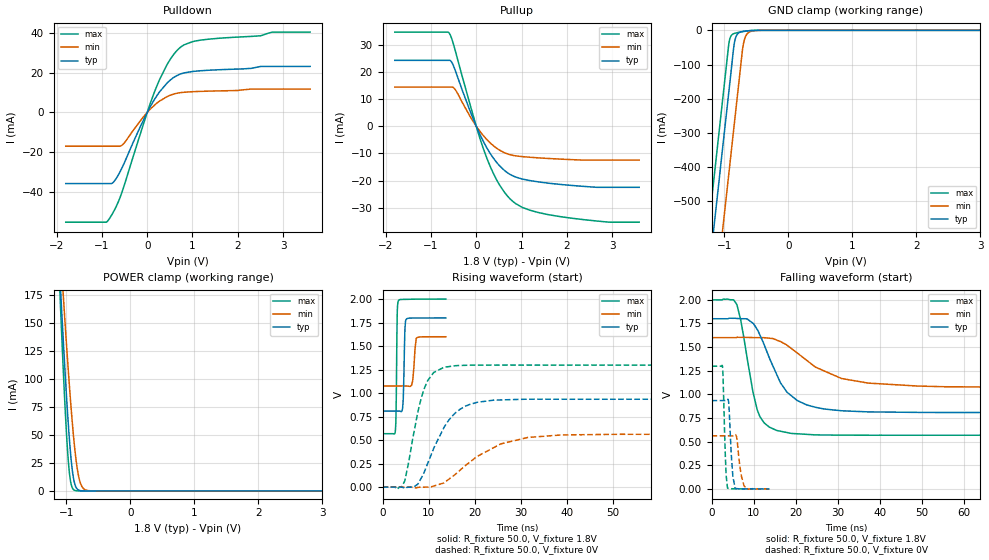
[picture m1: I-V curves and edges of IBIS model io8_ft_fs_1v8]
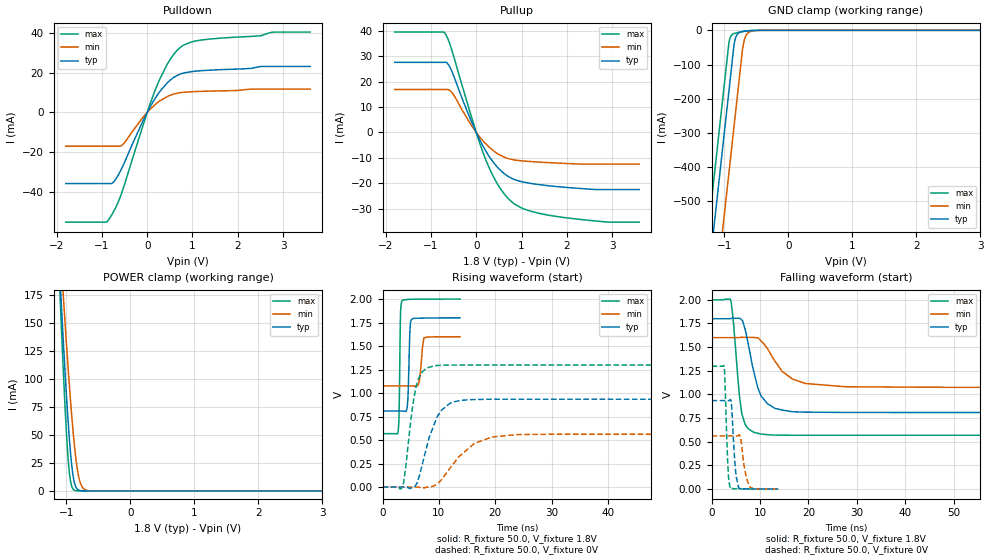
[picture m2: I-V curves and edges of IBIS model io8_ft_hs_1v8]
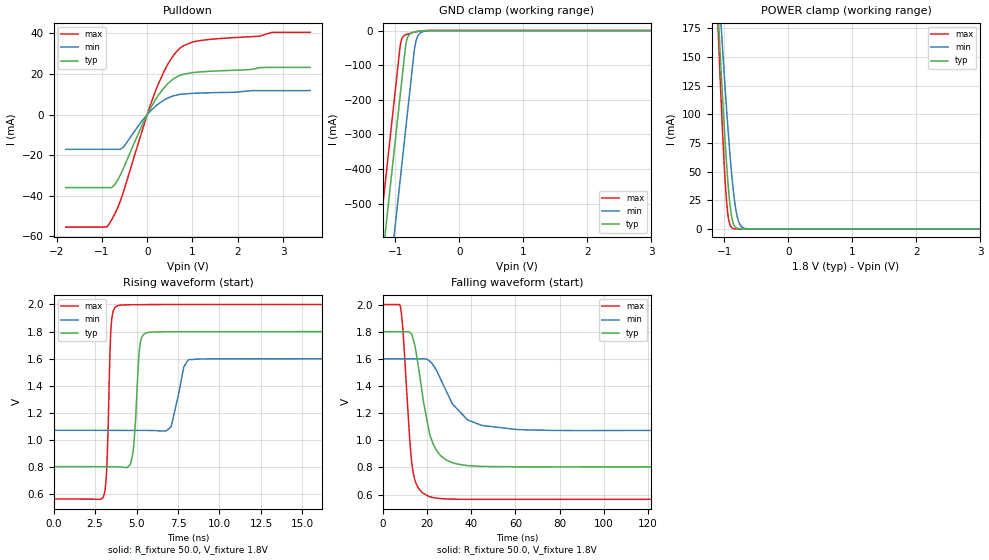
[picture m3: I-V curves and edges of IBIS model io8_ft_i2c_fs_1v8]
| IBIS file stm32c051_tssop20.ibs
[IBIS ver] 4.2
[File name] stm32c051_tssop20.ibs
[File Rev] 0.1
[Date] 13-01-2025
[Source] Data Created at STMicroelectronics
[Notes]  File originated from ELDO simulations.
[Disclaimer]  This information is for modeling purpose only and is
   not guaranted. The information is subject to change without
   notice.
[Copyright] Copyright 2025 STMicroelectronics Inc.
|   Component stm32c051_tssop20
[Component] stm32c051_tssop20
[Manufacturer] STMicroelectronics
[Package]
| variable   typ   min   max
R_pkg  0  NA  NA
L_pkg  0  NA  NA
C_pkg  0  NA  NA
[Pin]   signal_name   model_name
| choose one IO only for pin 1
1  PB7  io8_ft_i2c
| 1  PB8  io8_ft_i2c
2  PC14-OSCX_IN  io8_ft_i2c
3  PC15-OSCX_OUT  io8_ft
4  VDD  power
5  VSS  gnd
6  PF2-NRST  ioreset_ft_v33
7  PA0  io8_ft_v33
8  PA1  io8_ft
9  PA2  io8_ft_v33
10  PA3  io8_ft
11  PA4  io8_ft_v33
12  PA5  io8_ft
13  PA6  io8_ft_i2c
14  PA7  io8_ft_i2c
15  PA8  io8_ft
16  PA11  io8_ft_i2c
17  PA12  io8_ft_i2c
18  PA13  io8_ft
| choose one IO only for pin 19
19  PA14-BOOT0  io8_ft_v33
| 19  PA15  io8_ft
| choose one IO only for pin 20
20  PB3  io8_ft_i2c
|20  PB4  io8_ft_i2c
|20  PB5  io8_ft_i2c_v33
|20  PB6  io8_ft_i2c_v33
[Package Model]   44c-tssop-4.4-20-241204
[Pin Mapping]   pulldown_ref   pullup_ref   | Comment
1  gndio  vddio
2  gndio  vddio
3  gndio  vddio
4  nc  vddio
5  gndio  nc
6  gndio  vddio
7  gndio  vddio
8  gndio  vddio
9  gndio  vddio
10  gndio  vddio
11  gndio  vddio
12  gndio  vddio
13  gndio  vddio
14  gndio  vddio
15  gndio  vddio
16  gndio  vddio
17  gndio  vddio
18  gndio  vddio
19  gndio  vddio
20  gndio  vddio
|[Diff Pin]  inv_pin  vdiff  tdelay_typ  tdelay_min  tdelay_max
|17  16  NA  NA  NA  NA
[Model Selector] io8_ft
io8_ft_ls_3v3 "GPIO - 5V tolerant - low speed - 3.3V range"
io8_ft_ms_3v3 "GPIO - 5V tolerant - med speed - 3.3V range"
io8_ft_fs_3v3 "GPIO - 5V tolerant - fast speed - 3.3V range"
io8_ft_hs_3v3 "GPIO - 5V tolerant - high speed - 3.3V range"
io8_ft_ls_1v8 "GPIO - 5V tolerant - low speed - 1.8V range"
io8_ft_ms_1v8 "GPIO - 5V tolerant - med speed - 1.8V range"
io8_ft_fs_1v8 "GPIO - 5V tolerant - fast speed - 1.8V range"
io8_ft_hs_1v8 "GPIO - 5V tolerant - high speed - 1.8V range"
io8_ft_ls_1v2 "GPIO - 5V tolerant - low speed - 1.2V range"
io8_ft_ms_1v2 "GPIO - 5V tolerant - med speed - 1.2V range"
io8_ft_fs_1v2 "GPIO - 5V tolerant - fast speed - 1.2V range"
io8_ft_hs_1v2 "GPIO - 5V tolerant - high speed - 1.2V range"
[Model Selector] io8_ft_i2c
io8_ft_ls_3v3 "GPIO - 5V tolerant - low speed - 3.3V range"
io8_ft_ms_3v3 "GPIO - 5V tolerant - med speed - 3.3V range"
io8_ft_fs_3v3 "GPIO - 5V tolerant - fast speed - 3.3V range"
io8_ft_hs_3v3 "GPIO - 5V tolerant - high speed - 3.3V range"
io8_ft_ls_1v8 "GPIO - 5V tolerant - low speed - 1.8V range"
io8_ft_ms_1v8 "GPIO - 5V tolerant - med speed - 1.8V range"
io8_ft_fs_1v8 "GPIO - 5V tolerant - fast speed - 1.8V range"
io8_ft_hs_1v8 "GPIO - 5V tolerant - high speed - 1.8V range"
io8_ft_ls_1v2 "GPIO - 5V tolerant - low speed - 1.2V range"
io8_ft_ms_1v2 "GPIO - 5V tolerant - med speed - 1.2V range"
io8_ft_fs_1v2 "GPIO - 5V tolerant - fast speed - 1.2V range"
io8_ft_hs_1v2 "GPIO - 5V tolerant - high speed - 1.2V range"
io8_ft_i2c_ls_3v3 "GPIO with I2C open-drain - 5V tolerant - low speed - 3.3V range"
io8_ft_i2c_ms_3v3 "GPIO with I2C open-drain - 5V tolerant - med speed - 3.3V range"
io8_ft_i2c_fs_3v3 "GPIO with I2C open-drain - 5V tolerant - fast speed - 3.3V range"
io8_ft_i2c_hs_3v3 "GPIO with I2C open-drain - 5V tolerant - high speed - 3.3V range"
io8_ft_i2c_ls_1v8 "GPIO with I2C open-drain - 5V tolerant - low speed - 1.8V range"
io8_ft_i2c_ms_1v8 "GPIO with I2C open-drain - 5V tolerant - med speed - 1.8V range"
io8_ft_i2c_fs_1v8 "GPIO with I2C open-drain - 5V tolerant - fast speed - 1.8V range"
io8_ft_i2c_hs_1v8 "GPIO with I2C open-drain - 5V tolerant - high speed - 1.8V range"
io8_ft_i2c_ls_1v2 "GPIO with I2C open-drain - 5V tolerant - low speed - 1.2V range"
io8_ft_i2c_ms_1v2 "GPIO with I2C open-drain - 5V tolerant - med speed - 1.2V range"
io8_ft_i2c_fs_1v2 "GPIO with I2C open-drain - 5V tolerant - fast speed - 1.2V range"
io8_ft_i2c_hs_1v2 "GPIO with I2C open-drain - 5V tolerant - high speed - 1.2V range"
[Model Selector] io8_ft_v33
io8_ft_v33_ls_3v3 "GPIO - 5V tolerant - low speed - 3.3V range"
io8_ft_v33_ms_3v3 "GPIO - 5V tolerant - med speed - 3.3V range"
io8_ft_v33_fs_3v3 "GPIO - 5V tolerant - fast speed - 3.3V range"
io8_ft_v33_hs_3v3 "GPIO - 5V tolerant - high speed - 3.3V range"
io8_ft_v33_ls_1v8 "GPIO - 5V tolerant - low speed - 1.8V range"
io8_ft_v33_ms_1v8 "GPIO - 5V tolerant - med speed - 1.8V range"
io8_ft_v33_fs_1v8 "GPIO - 5V tolerant - fast speed - 1.8V range"
io8_ft_v33_hs_1v8 "GPIO - 5V tolerant - high speed - 1.8V range"
io8_ft_v33_ls_1v2 "GPIO - 5V tolerant - low speed - 1.2V range"
io8_ft_v33_ms_1v2 "GPIO - 5V tolerant - med speed - 1.2V range"
io8_ft_v33_fs_1v2 "GPIO - 5V tolerant - fast speed - 1.2V range"
io8_ft_v33_hs_1v2 "GPIO - 5V tolerant - high speed - 1.2V range"
[Model Selector] ioreset_ft_v33
io8_ft_v33_ls_3v3 "GPIO - 5V tolerant - low speed - 3.3V range"
io8_ft_v33_ms_3v3 "GPIO - 5V tolerant - med speed - 3.3V range"
io8_ft_v33_fs_3v3 "GPIO - 5V tolerant - fast speed - 3.3V range"
io8_ft_v33_hs_3v3 "GPIO - 5V tolerant - high speed - 3.3V range"
io8_ft_v33_ls_1v8 "GPIO - 5V tolerant - low speed - 1.8V range"
io8_ft_v33_ms_1v8 "GPIO - 5V tolerant - med speed - 1.8V range"
io8_ft_v33_fs_1v8 "GPIO - 5V tolerant - fast speed - 1.8V range"
io8_ft_v33_hs_1v8 "GPIO - 5V tolerant - high speed - 1.8V range"
io8_ft_v33_ls_1v2 "GPIO - 5V tolerant - low speed - 1.2V range"
io8_ft_v33_ms_1v2 "GPIO - 5V tolerant - med speed - 1.2V range"
io8_ft_v33_fs_1v2 "GPIO - 5V tolerant - fast speed - 1.2V range"
io8_ft_v33_hs_1v2 "GPIO - 5V tolerant - high speed - 1.2V range"
ioreset_ft_v33_1v2   "Reset PAD. 5V tolerant. 1.2V range"
ioreset_ft_v33_1v8   "Reset PAD. 5V tolerant. 1.8V range"
ioreset_ft_v33_3v3   "Reset PAD. 5V tolerant. 3.3V range"
[Define Package Model]  44c-tssop-4.4-20-241204
[Manufacturer]  Unknown
[OEM]  Unknown
[Description]  None
[Number Of Pins]  20
[Pin Numbers]
| Pin Num   Terminal Name
7 | PA0
8 | PA1
9 | PA2
10 | PA3
11 | PA4
12 | PA5
13 | PA6
14 | PA7
15 | PA8
16 | PA11
17 | PA12
18 | PA13
19 | PA14-BOOT0-PA15
20 | PB3-PB4-PB5-PB6
1 | PB7-PB8
2 | PC14-OSCX_IN
3 | PC15-OSCX_OUT
6 | PF2-NRST
4 | VDD
5 | VSS
[Model Data]
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[End Model Data]
[End Package Model]
|End [Component]
| Models and submodels in the file (39): io8_ft_fs_1v2 (I/O), io8_ft_fs_1v8 (I/O), io8_ft_fs_3v3 (I/O), io8_ft_hs_1v2 (I/O), io8_ft_hs_1v8 (I/O), io8_ft_hs_3v3 (I/O), io8_ft_i2c_fs_1v2 (I/O_open_drain), io8_ft_i2c_fs_1v8 (I/O_open_drain), io8_ft_i2c_fs_3v3 (I/O_open_drain), io8_ft_i2c_hs_1v2 (I/O_open_drain), io8_ft_i2c_hs_1v8 (I/O_open_drain), io8_ft_i2c_hs_3v3 (I/O_open_drain), io8_ft_i2c_ls_1v2 (I/O_open_drain), io8_ft_i2c_ls_1v8 (I/O_open_drain), io8_ft_i2c_ls_3v3 (I/O_open_drain), io8_ft_i2c_ms_1v2 (I/O_open_drain), io8_ft_i2c_ms_1v8 (I/O_open_drain), io8_ft_i2c_ms_3v3 (I/O_open_drain), io8_ft_ls_1v2 (I/O), io8_ft_ls_1v8 (I/O), io8_ft_ls_3v3 (I/O), io8_ft_ms_1v2 (I/O), io8_ft_ms_1v8 (I/O), io8_ft_ms_3v3 (I/O), io8_ft_v33_fs_1v2 (I/O), io8_ft_v33_fs_1v8 (I/O), io8_ft_v33_fs_3v3 (I/O), io8_ft_v33_hs_1v2 (I/O), io8_ft_v33_hs_1v8 (I/O), io8_ft_v33_hs_3v3 (I/O), io8_ft_v33_ls_1v2 (I/O), io8_ft_v33_ls_1v8 (I/O), io8_ft_v33_ls_3v3 (I/O), io8_ft_v33_ms_1v2 (I/O), io8_ft_v33_ms_1v8 (I/O), io8_ft_v33_ms_3v3 (I/O), ioreset_ft_v33_1v2 (Input), ioreset_ft_v33_1v8 (Input), ioreset_ft_v33_3v3 (Input)
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[Model]   io8_ft_fs_1v8
Model_type I/O
Polarity   Non-Inverting
Enable   Active-Low
| CAP_THRESHOLD on pad IOFT is "UDTCAPC" :
| Rising=30.0% of vddiom   Falling=70.0% of vddiom
| C_comp min and max val. don't necessarily correlate with the min and max pvt
| but are the smallest and greatest pad capacitance found.
| var   typ   min   max
C_comp   1.88000pF  1.84955pF  1.93330pF
|C_comp_pullup   1.00265pF  1.07915pF  1.05575pF
|C_comp_pulldown   877.35415fF  770.40365fF  877.54544fF
Vinl = 800.0mV
Vinh = 1.0V
Vmeas = 900.0mV   | Reference voltage for timing measurements
Cref  = 50.0pF   | Timing specification test load capacitance value
Rref  = 1.0MOhm   | Timing specification test load resistance value
Vref  = 990.0mV   | Timing specification test load voltage
[Model Spec]
| TIME_THRESHOLD on pin ZIV12 is "CMOS" :
| Rising=50.0% of vdd   Falling=50.0% of vdd
Vinl 728.70000mV 652.70000mV 817.70000mV
Vinh 1.06430V 953.30000mV 1.16330V
| variable   typ   min   max
[Temperature Range] 25.0 125.0 -40.0
| variable   typ   min   max
[Voltage Range] 1.8V 1.6V 2.0V
| variable   typ   min   max
[POWER Clamp Reference] 1.8V 1.6V 2.0V
| variable   typ   min   max
[GND Clamp Reference] 0V 0V 0V
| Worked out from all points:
|   slope of the pulldown table from 0 to 0.27 V, typ, clamps not added: 26.3 ohm
|   slope of the pullup table from 0 to 0.27 V, typ, clamps not added: 30 ohm
|   GND clamp passes 1 mA (typ) near -0.61 V on its own axis
|   POWER clamp passes 1 mA (typ) near -0.81 V on its own axis
|   rising waveform, R_fixture 50.0, V_fixture 1.8V: 20-80 % time 280ps typ, 470ps min, 195ps max; typ from 0.809 V to 1.8 V
|   falling waveform, R_fixture 50.0, V_fixture 1.8V: 20-80 % time 6.63ns typ, 11.6ns min, 3.54ns max; typ from 1.8 V to 0.809 V
|   rising waveform, R_fixture 50.0, V_fixture 0V: 20-80 % time 5.72ns typ, 10.1ns min, 3.34ns max; typ from 0 V to 0.934 V
|   falling waveform, R_fixture 50.0, V_fixture 0V: 20-80 % time 694ps typ, 1.01ns min, 534ps max; typ from 0.935 V to 0 V
[POWER Clamp]
-1.8V     1.053A     933.5mA    1.262A
-1.1V     191.1mA    222.7mA    177.1mA
-1.08V    169mA      204.2mA    149.9mA
-1.05V    136.9mA    176.9mA    110.9mA
-1.01V    96.55mA    141.6mA    64.02mA
-980mV    68.91mA    116.4mA    35.23mA
-940mV    37.57mA    84.83mA    10.65mA
-880mV    8.969mA    44.34mA    807.4uA
-830mV    1.697mA    20.19mA    75.79uA
-790mV    394.2uA    8.787mA    11.25uA
-670mV    4.467uA    374.2uA    36.56nA
3.6V      0A         0A         0A
[GND Clamp]
-1.8V     -1.658A    -1.897A    -1.517A
-1.24V    -706mA     -945.3mA   -564.6mA
-1.05V    -383mA     -622.3mA   -241.6mA
-930mV    -179mA     -418.3mA   -38.91mA
-910mV    -145mA     -384.3mA   -22.02mA
-870mV    -77.01mA   -316.3mA   -11.35mA
-850mV    -44.09mA   -282.3mA   -9.519mA
-820mV    -19mA      -231.3mA   -7.801mA
-710mV    -3.257mA   -47.82mA   -3.606mA
-660mV    -1.938mA   -14.77mA   -2.175mA
-590mV    -790.4uA   -3.415mA   -786.7uA
3.6V      506.8pA    48.18nA    364.4pA
| variable   typ   min   max
[Pullup Reference] 1.8V 1.6V 2.0V
| variable   typ   min   max
[Pulldown Reference] 0V 0V 0V
[Pullup]
-1.8V     24.23mA    14.41mA    34.63mA
-600mV    24.23mA    14.41mA    34.31mA
-540mV    23.48mA    14.41mA    32.12mA
-460mV    20.37mA    13.36mA    27.59mA
-120mV    4.869mA    3.102mA    6.98mA
210mV     -7.259mA   -4.466mA   -10.7mA
510mV     -14.47mA   -8.758mA   -21.5mA
810mV     -18.3mA    -10.74mA   -27.71mA
1.18V     -19.99mA   -11.43mA   -30.89mA
1.74V     -21.24mA   -12.01mA   -32.98mA
2.94V     -22.49mA   -12.46mA   -35.33mA
3.6V      -22.49mA   -12.46mA   -35.33mA
[Pulldown]
-1.8V     -35.76mA   -16.97mA   -55.17mA
-910mV    -35.76mA   -16.97mA   -55.17mA
-830mV    -35.76mA   -16.97mA   -53.18mA
-720mV    -34.31mA   -16.97mA   -48.86mA
-540mV    -27.04mA   -16.13mA   -38.89mA
-120mV    -5.569mA   -3.236mA   -8.457mA
230mV     8.974mA    4.965mA    14.24mA
520mV     16.45mA    8.736mA    27.07mA
750mV     19.43mA    9.977mA    33.01mA
1.37V     21.21mA    10.7mA     36.84mA
2.78V     23.13mA    11.74mA    40.36mA
3.6V      23.13mA    11.74mA    40.37mA
[Ramp]
dV/dt_r 560.64103mV/5.72255ns 336.90009mV/10.08342ns 778.77397mV/3.34412ns
dV/dt_f 594.68735mV/6.63413ns 314.51285mV/11.57587ns 859.13116mV/3.53907ns
R_load = 50.0
| Removed startup time: 0s 0s 0s  .
| Removed end time: 13.75ns.
[Rising Waveform]
R_fixture   = 50.0
V_fixture   = 1.8V
V_fixture_min = 1.6V
V_fixture_max = 2.0V
0s        808.6mV    1.076V     568.1mV
2.8ns     808.6mV    1.076V     605.6mV
2.95ns    808.6mV    1.076V     844.4mV
3.2ns     808.6mV    1.076V     1.869V
3.45ns    808.7mV    1.076V     1.981V
4.35ns    834.5mV    1.076V     1.996V
5.1ns     1.781V     1.076V     1.997V
6.5ns     1.798V     1.119V     1.998V
7.35ns    1.798V     1.586V     1.999V
13.75ns   1.8V       1.599V     2V
| Removed startup time: 0s 0s 0s  .
| Removed end time: 249.75ns.
[Falling Waveform]
R_fixture   = 50.0
V_fixture   = 1.8V
V_fixture_min = 1.6V
V_fixture_max = 2.0V
0s        1.8V       1.6V       2V
6.025ns   1.803V     1.603V     1.949V
7ns       1.8V       1.603V     1.772V
9.85ns    1.753V     1.601V     1.026V
11.5ns    1.628V     1.6V       765.3mV
16.4ns    1.123V     1.558V     610.6mV
19ns      985.6mV    1.485V     587.2mV
30.93ns   826.9mV    1.168V     569mV
49ns      809.7mV    1.088V     568.1mV
249.8ns   808.9mV    1.076V     568.1mV
| Removed startup time: 0s 0s 0s  .
| Removed end time: 249.75ns.
[Rising Waveform]
R_fixture   = 50.0
V_fixture   = 0V
V_fixture_min = 0V
V_fixture_max = 0V
0s        36.63nV    88.68nV    43.76nV
3.15ns    -581.9nV   751.2nV    -21.7mV
4.8ns     -14.02mV   406.9nV    62.84mV
7.65ns    31.22mV    -3.794mV   792.2mV
9.15ns    171.7mV    -147.6uV   1.059V
11.1ns    411mV      11.46mV    1.218V
15.75ns   785.9mV    134.1mV    1.291V
25.7ns    927.3mV    460.2mV    1.298V
38.75ns   934.6mV    554.6mV    1.298V
249.8ns   934.4mV    561.5mV    1.298V
| Removed startup time: 0s 0s 0s  .
| Removed end time: 13.75ns.
[Falling Waveform]
R_fixture   = 50.0
V_fixture   = 0V
V_fixture_min = 0V
V_fixture_max = 0V
0s        934.6mV    561.6mV    1.298V
2.6ns     934.6mV    561.6mV    1.296V
3.45ns    934.3mV    561.6mV    164.2mV
3.8ns     941.1mV    561.6mV    8.057mV
4.15ns    868.9mV    561.6mV    4.659mV
5.05ns    145.7mV    561.3mV    2.206mV
5.6ns     7.594mV    569.8mV    1.867mV
6ns       3.549mV    540.8mV    1.699mV
7.75ns    1.053mV    30.07mV    1.068mV
13.75ns   422uV      -89.96uV   -91.09uV
[Model]   io8_ft_hs_1v8
Model_type I/O
Polarity   Non-Inverting
Enable   Active-Low
| CAP_THRESHOLD on pad IOFT is "UDTCAPC" :
| Rising=30.0% of vddiom   Falling=70.0% of vddiom
| C_comp min and max val. don't necessarily correlate with the min and max pvt
| but are the smallest and greatest pad capacitance found.
| var   typ   min   max
C_comp   1.88005pF  1.84964pF  1.93329pF
|C_comp_pullup   1.00281pF  1.07925pF  1.05575pF
|C_comp_pulldown   877.23973fF  770.39365fF  877.53544fF
Vinl = 800.0mV
Vinh = 1.0V
Vmeas = 900.0mV   | Reference voltage for timing measurements
Cref  = 50.0pF   | Timing specification test load capacitance value
Rref  = 1.0MOhm   | Timing specification test load resistance value
Vref  = 990.0mV   | Timing specification test load voltage
[Model Spec]
| TIME_THRESHOLD on pin ZIV12 is "CMOS" :
| Rising=50.0% of vdd   Falling=50.0% of vdd
Vinl 728.70000mV 652.70000mV 817.70000mV
Vinh 1.06430V 953.30000mV 1.16330V
| variable   typ   min   max
[Temperature Range] 25.0 125.0 -40.0
| variable   typ   min   max
[Voltage Range] 1.8V 1.6V 2.0V
| variable   typ   min   max
[POWER Clamp Reference] 1.8V 1.6V 2.0V
| variable   typ   min   max
[GND Clamp Reference] 0V 0V 0V
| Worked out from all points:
|   slope of the pulldown table from 0 to 0.27 V, typ, clamps not added: 26.3 ohm
|   slope of the pullup table from 0 to 0.27 V, typ, clamps not added: 30 ohm
|   GND clamp passes 1 mA (typ) near -0.61 V on its own axis
|   POWER clamp passes 1 mA (typ) near -0.81 V on its own axis
|   rising waveform, R_fixture 50.0, V_fixture 1.8V: 20-80 % time 279ps typ, 470ps min, 194ps max; typ from 0.809 V to 1.8 V
|   falling waveform, R_fixture 50.0, V_fixture 1.8V: 20-80 % time 2.75ns typ, 4.85ns min, 1.49ns max; typ from 1.8 V to 0.808 V
|   rising waveform, R_fixture 50.0, V_fixture 0V: 20-80 % time 2.87ns typ, 5.12ns min, 1.67ns max; typ from 0 V to 0.935 V
|   falling waveform, R_fixture 50.0, V_fixture 0V: 20-80 % time 695ps typ, 998ps min, 532ps max; typ from 0.935 V to 0 V
[POWER Clamp]
-1.8V     1.053A     933.5mA    1.262A
-1.1V     191.1mA    222.7mA    177.1mA
-1.08V    169mA      204.2mA    149.9mA
-1.05V    136.9mA    176.9mA    110.9mA
-1.01V    96.55mA    141.6mA    64.02mA
-980mV    68.91mA    116.4mA    35.23mA
-940mV    37.57mA    84.83mA    10.65mA
-880mV    8.969mA    44.34mA    807.4uA
-830mV    1.697mA    20.19mA    75.79uA
-790mV    394.2uA    8.787mA    11.25uA
-670mV    4.467uA    374.2uA    36.56nA
3.6V      0A         0A         0A
[GND Clamp]
-1.8V     -1.658A    -1.897A    -1.517A
-1.24V    -706mA     -945.3mA   -564.6mA
-1.05V    -383mA     -622.3mA   -241.6mA
-930mV    -179mA     -418.3mA   -38.91mA
-910mV    -145mA     -384.3mA   -22.02mA
-870mV    -77.01mA   -316.3mA   -11.35mA
-850mV    -44.09mA   -282.3mA   -9.519mA
-820mV    -19mA      -231.3mA   -7.801mA
-710mV    -3.257mA   -47.82mA   -3.606mA
-660mV    -1.938mA   -14.77mA   -2.175mA
-590mV    -790.4uA   -3.415mA   -786.7uA
3.6V      506.8pA    48.18nA    364.4pA
| variable   typ   min   max
[Pullup Reference] 1.8V 1.6V 2.0V
| variable   typ   min   max
[Pulldown Reference] 0V 0V 0V
[Pullup]
-1.8V     27.62mA    16.93mA    39.53mA
-680mV    27.62mA    16.93mA    38.81mA
-610mV    26.58mA    16.85mA    36.12mA
-520mV    23.23mA    15.32mA    31.29mA
-120mV    4.869mA    3.102mA    6.98mA
210mV     -7.259mA   -4.466mA   -10.7mA
490mV     -14.1mA    -8.547mA   -20.93mA
810mV     -18.3mA    -10.74mA   -27.71mA
1.18V     -19.99mA   -11.43mA   -30.89mA
1.74V     -21.24mA   -12.01mA   -32.98mA
2.94V     -22.49mA   -12.46mA   -35.33mA
3.6V      -22.49mA   -12.46mA   -35.33mA
[Pulldown]
-1.8V     -35.76mA   -16.97mA   -55.17mA
-910mV    -35.76mA   -16.97mA   -55.17mA
-830mV    -35.76mA   -16.97mA   -53.18mA
-720mV    -34.31mA   -16.97mA   -48.86mA
-540mV    -27.04mA   -16.13mA   -38.89mA
-120mV    -5.569mA   -3.236mA   -8.457mA
230mV     8.974mA    4.965mA    14.24mA
520mV     16.45mA    8.737mA    27.07mA
750mV     19.43mA    9.977mA    33.01mA
1.37V     21.21mA    10.7mA     36.84mA
2.78V     23.13mA    11.74mA    40.36mA
3.6V      23.13mA    11.74mA    40.37mA
[Ramp]
dV/dt_r 560.89985mV/2.86279ns 336.98313mV/5.12476ns 778.78903mV/1.66572ns
dV/dt_f 595.43534mV/2.75242ns 315.21172mV/4.85259ns 858.98632mV/1.4927ns
R_load = 50.0
| Removed startup time: 0s 0s 0s  .
| Removed end time: 13.75ns.
[Rising Waveform]
R_fixture   = 50.0
V_fixture   = 1.8V
V_fixture_min = 1.6V
V_fixture_max = 2.0V
0s        808.6mV    1.076V     568.1mV
2.8ns     808.6mV    1.076V     602.5mV
2.95ns    808.6mV    1.076V     851.1mV
3.2ns     808.6mV    1.076V     1.865V
3.45ns    808.6mV    1.076V     1.979V
4.35ns    835.9mV    1.076V     1.995V
5.1ns     1.779V     1.076V     1.998V
6.5ns     1.796V     1.119V     1.999V
7.35ns    1.798V     1.587V     2V
13.75ns   1.8V       1.599V     2V
| Removed startup time: 0s 0s 0s  .
| Removed end time: 249.75ns.
[Falling Waveform]
R_fixture   = 50.0
V_fixture   = 1.8V
V_fixture_min = 1.6V
V_fixture_max = 2.0V
0s        1.8V       1.6V       2V
4ns       1.802V     1.6V       1.987V
4.575ns   1.805V     1.6V       1.724V
5.75ns    1.804V     1.6V       988.4mV
6.225ns   1.787V     1.604V     798.6mV
7.325ns   1.594V     1.603V     652.5mV
10.13ns   996.5mV    1.57V      581.5mV
16.68ns   817.3mV    1.163V     568.2mV
27.75ns   809.5mV    1.08V      568.1mV
249.8ns   807.6mV    1.075V     568.4mV
| Removed startup time: 0s 0s 0s  .
| Removed end time: 249.75ns.
[Rising Waveform]
R_fixture   = 50.0
V_fixture   = 0V
V_fixture_min = 0V
V_fixture_max = 0V
0s        36.63nV    88.67nV    43.76nV
3.55ns    11.68uV    477.5nV    7.183mV
4.1ns     -236.7uV   -528.9nV   202.6mV
5.25ns    -5.835mV   24.53uV    818.9mV
6.15ns    50.5mV     -681.3uV   1.108V
9.35ns    695.6mV    20.44mV    1.292V
12ns      891.9mV    203.5mV    1.298V
16.3ns    931mV      464.7mV    1.298V
23.85ns   934.3mV    558mV      1.298V
249.8ns   934.8mV    561.6mV    1.298V
| Removed startup time: 0s 0s 0s  .
| Removed end time: 13.75ns.
[Falling Waveform]
R_fixture   = 50.0
V_fixture   = 0V
V_fixture_min = 0V
V_fixture_max = 0V
0s        934.6mV    561.6mV    1.298V
2.6ns     934.6mV    561.6mV    1.294V
3.35ns    934.5mV    561.6mV    269mV
3.85ns    944mV      561.6mV    2.457mV
4.15ns    865.9mV    561.6mV    7.012mV
5.05ns    144.2mV    561.3mV    1.783mV
5.6ns     7.191mV    569.2mV    1.247mV
6ns       4.557mV    539.6mV    842.3uV
7.85ns    1.073mV    22.58mV    548uV
13.75ns   190.2uV    72.99uV    -251.5uV
[Model]   io8_ft_i2c_fs_1v8
Model_type I/O_open_drain
Polarity   Non-Inverting
Enable   Active-Low
| CAP_THRESHOLD on pad IOFT is "UDTCAPC" :
| Rising=30.0% of vddiom   Falling=70.0% of vddiom
| C_comp min and max val. don't necessarily correlate with the min and max pvt
| but are the smallest and greatest pad capacitance found.
| var   typ   min   max
C_comp   2.19911pF  2.17856pF  2.24970pF
|C_comp_pulldown   2.19911pF  2.17856pF  2.24970pF
Vinl = 800.0mV
Vinh = 1.0V
Vmeas = 900.0mV   | Reference voltage for timing measurements
Cref  = 50.0pF   | Timing specification test load capacitance value
Rref  = 1.0MOhm   | Timing specification test load resistance value
Vref  = 990.0mV   | Timing specification test load voltage
[Model Spec]
| TIME_THRESHOLD on pin ZII2CV12 is "CMOS" :
| Rising=50.0% of vdd   Falling=50.0% of vdd
Vinl 728.70000mV 652.70000mV 817.70000mV
Vinh 1.06430V 953.30000mV 1.16330V
| variable   typ   min   max
[Temperature Range] 25.0 125.0 -40.0
| variable   typ   min   max
[Voltage Range] 1.8V 1.6V 2.0V
| variable   typ   min   max
[POWER Clamp Reference] 1.8V 1.6V 2.0V
| variable   typ   min   max
[GND Clamp Reference] 0V 0V 0V
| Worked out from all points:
|   slope of the pulldown table from 0 to 0.27 V, typ, clamps not added: 26.4 ohm
|   GND clamp passes 1 mA (typ) near -0.58 V on its own axis
|   POWER clamp passes 1 mA (typ) near -0.81 V on its own axis
|   rising waveform, R_fixture 50.0, V_fixture 1.8V: 20-80 % time 274ps typ, 544ps min, 196ps max; typ from 0.804 V to 1.8 V
|   falling waveform, R_fixture 50.0, V_fixture 1.8V: 20-80 % time 6.54ns typ, 11.8ns min, 3.49ns max; typ from 1.8 V to 0.804 V
[POWER Clamp]
-1.8V     1.053A     933.5mA    1.262A
-1.1V     191.1mA    222.7mA    177.1mA
-1.08V    169mA      204.2mA    149.9mA
-1.05V    136.9mA    176.9mA    110.9mA
-1.01V    96.55mA    141.6mA    64.02mA
-980mV    68.91mA    116.4mA    35.23mA
-940mV    37.57mA    84.83mA    10.65mA
-880mV    8.969mA    44.34mA    807.4uA
-830mV    1.697mA    20.19mA    75.79uA
-790mV    394.2uA    8.787mA    11.25uA
-670mV    4.467uA    374.2uA    36.56nA
3.6V      0A         0A         0A
[GND Clamp]
-1.8V     -1.676A    -1.92A     -1.532A
-1.24V    -723.6mA   -967.7mA   -579.5mA
-1.05V    -400.6mA   -644.7mA   -256.5mA
-920mV    -179.6mA   -423.7mA   -38.92mA
-890mV    -128.6mA   -372.7mA   -20.43mA
-850mV    -60.6mA    -304.7mA   -13.42mA
-830mV    -34.09mA   -270.7mA   -11.74mA
-800mV    -16.49mA   -219.7mA   -9.781mA
-690mV    -3.754mA   -41.06mA   -4.242mA
-640mV    -2.187mA   -13.34mA   -2.404mA
-570mV    -808.6uA   -3.187mA   -757.3uA
3.6V      509.6pA    49.06nA    363.2pA
| variable   typ   min   max
[Pullup Reference] 1.8V 1.6V 2.0V
| variable   typ   min   max
[Pulldown Reference] 0V 0V 0V
[Pulldown]
-1.8V     -35.95mA   -17.07mA   -55.42mA
-910mV    -35.95mA   -17.07mA   -55.42mA
-830mV    -35.95mA   -17.07mA   -53.42mA
-720mV    -34.49mA   -17.07mA   -49.08mA
-540mV    -27.18mA   -16.22mA   -39.07mA
-120mV    -5.598mA   -3.255mA   -8.496mA
240mV     9.353mA    5.171mA    14.85mA
490mV     15.96mA    8.523mA    26.14mA
750mV     19.54mA    10.04mA    33.17mA
1.37V     21.33mA    10.77mA    37.03mA
2.78V     23.24mA    11.8mA     40.53mA
3.6V      23.24mA    11.89mA    40.54mA
[Ramp]
dV/dt_r 597.43695mV/271.39401ps 316.62128mV/543.66458ps 860.76616mV/186.43747ps
dV/dt_f 597.45853mV/6.54342ns 316.26814mV/11.83969ns 860.78133mV/3.48826ns
R_load = 50.0
| Removed startup time: 0s 0s 0s  .
| Removed end time: 29.7ns.
[Rising Waveform]
R_fixture   = 50.0
V_fixture   = 1.8V
V_fixture_min = 1.6V
V_fixture_max = 2.0V
0s        804.2mV    1.072V     565.4mV
3ns       803.5mV    1.072V     578.7mV
3.2ns     803.4mV    1.072V     769.6mV
3.45ns    803.3mV    1.072V     1.805V
3.85ns    802.8mV    1.072V     1.99V
4.65ns    827.7mV    1.072V     1.998V
5.2ns     1.694V     1.071V     1.999V
5.6ns     1.79V      1.071V     1.999V
8.15ns    1.799V     1.593V     2V
29.7ns    1.8V       1.6V       2V
| Removed startup time: 0s 0s 0s  .
| Removed end time: 199.775ns.
[Falling Waveform]
R_fixture   = 50.0
V_fixture   = 1.8V
V_fixture_min = 1.6V
V_fixture_max = 2.0V
0s        1.8V       1.6V       2V
7.925ns   1.8V       1.6V       1.995V
9.125ns   1.8V       1.6V       1.831V
12.18ns   1.797V     1.6V       1.032V
13.68ns   1.754V     1.6V       778.7mV
16ns      1.561V     1.6V       652.6mV
21.08ns   1.065V     1.586V     585.4mV
28.78ns   855.3mV    1.363V     568.1mV
44.83ns   807.4mV    1.11V      565.4mV
199.8ns   804.2mV    1.073V     565.4mV
